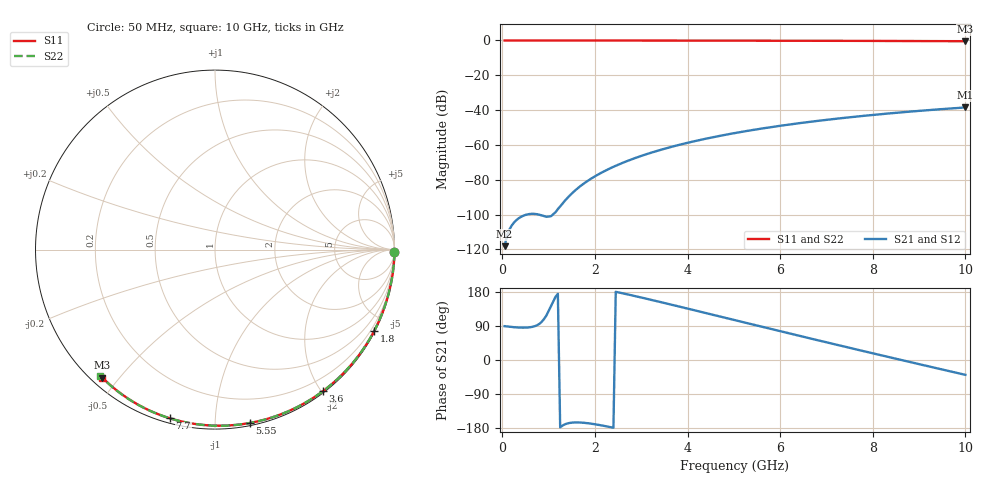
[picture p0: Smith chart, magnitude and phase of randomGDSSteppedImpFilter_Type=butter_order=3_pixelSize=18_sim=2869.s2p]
! freq	dB(S11)	phase(S11)	dB(S12)	phase(S12)
!  dB(S21)	phase(S21)	dB(S22)	phase(S22)
!S-par simulation data
#  GHz  S  DB  R 50
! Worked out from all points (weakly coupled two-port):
!   200 points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, 50 MHz to 10 GHz, reference 50 ohm
!   highest |S21| = -38.48 dB at 10 GHz (marker M1); lowest = -118.2 dB at 50 MHz (marker M2)
!   lowest |S11| = -0.4 dB at 10 GHz (marker M3), VSWR 39.07, Z = 1.54 - j22.6 ohm
!   |S11| at or under -10 dB: nowhere
!   |S22| runs from -0.4 to 0.0 dB; largest |S21 - S12| = 0
!   S11 on the Smith chart (normalised r, x): 50 MHz: open; 1.8 GHz: 0.04, -4.18; 3.6 GHz: 0.02, -2.02; 5.55 GHz: 0.02, -1.22; 7.7 GHz: 0.02, -0.77; 10 GHz: 0.03, -0.45
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0.05  -0.00 -0.8  -118.18 89.3  -118.18 89.3  -0.00 -0.8
0.9  -0.02 -13.6  -100.93 108.1  -100.93 108.1  -0.02 -13.7
1.75  -0.03 -26.2  -82.40 -165.6  -82.40 -165.6  -0.03 -26.3
1.8  -0.03 -26.9  -81.45 -166.2  -81.45 -166.2  -0.03 -27.1
1.85  -0.04 -27.6  -80.56 -166.9  -80.56 -166.9  -0.04 -27.8
1.9  -0.04 -28.4  -79.69 -167.7  -79.69 -167.7  -0.04 -28.5
2.05  -0.04 -30.6  -77.30 -170.6  -77.30 -170.6  -0.04 -30.7
2.25  -0.04 -33.5  -74.47 -175.1  -74.47 -175.1  -0.04 -33.7
2.45  -0.05 -36.4  -71.98 180.0  -71.98 180.0  -0.05 -36.6
2.65  -0.05 -39.2  -69.75 174.7  -69.75 174.7  -0.05 -39.5
3  -0.06 -44.2  -66.33 164.9  -66.33 164.9  -0.06 -44.5
3.4  -0.07 -49.8  -62.99 153.4  -62.99 153.4  -0.07 -50.1
3.6  -0.07 -52.6  -61.50 147.5  -61.50 147.5  -0.07 -52.9
4.3  -0.09 -62.2  -56.98 126.8  -56.98 126.8  -0.09 -62.5
5.05  -0.11 -72.1  -53.06 104.4  -53.06 104.4  -0.11 -72.5
5.55  -0.13 -78.6  -50.83 89.5  -50.83 89.5  -0.13 -79.0
6.1  -0.15 -85.5  -48.65 73.1  -48.65 73.1  -0.15 -86.0
6.7  -0.18 -93.0  -46.56 55.4  -46.56 55.4  -0.18 -93.5
7.7  -0.24 -105.0  -43.58 26.3  -43.58 26.3  -0.24 -105.6
8.35  -0.29 -112.5  -41.92 7.6  -41.92 7.6  -0.29 -113.2
9.15  -0.36 -121.7  -40.13 -15.2  -40.13 -15.2  -0.36 -122.5
10  -0.44 -131.3  -38.48 -39.1  -38.48 -39.1  -0.44 -132.2
